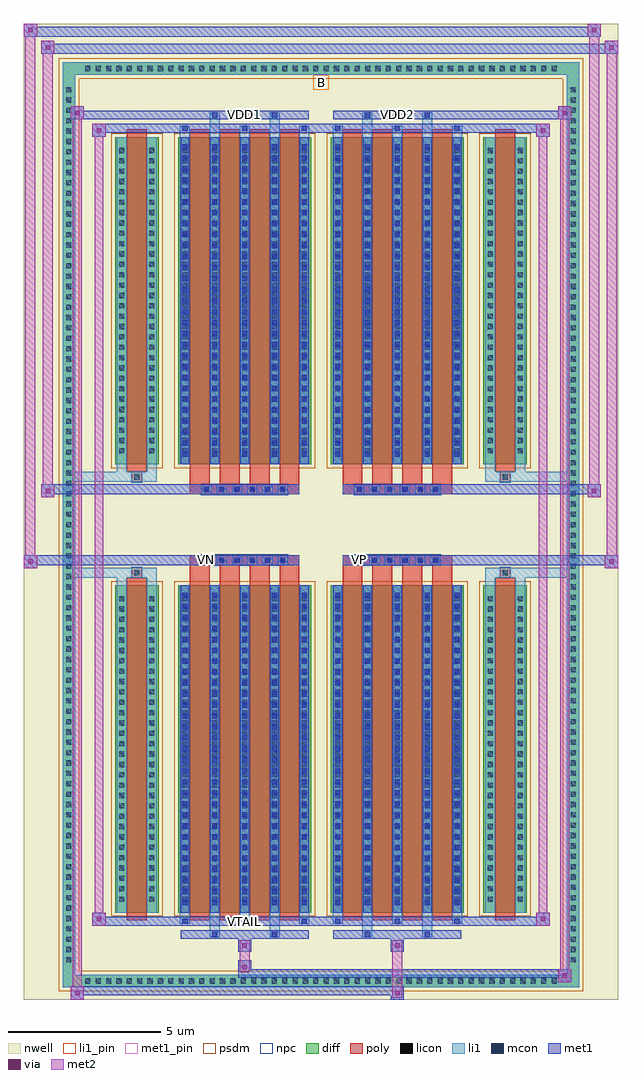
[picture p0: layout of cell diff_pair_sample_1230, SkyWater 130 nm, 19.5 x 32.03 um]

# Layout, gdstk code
import gdstk
lib = gdstk.Library(unit=1e-6, precision=5e-09)
def R(c, l, rs):  # rectangles x0, y0, x1, y1
    for r in rs: c.add(gdstk.rectangle(r[:2], r[2:], *l))
def A(c, l, x, y, w, h, nx, ny, dx, dy):  # array of equal rectangles
    R(c, l, [(x+i*dx, y+j*dy, x+i*dx+w, y+j*dy+h) for i in range(nx) for j in range(ny)])
def P(c, l, *ps):  # polygons
    for p in ps: c.add(gdstk.Polygon(p, *l))
nwell = (64, 20)
diff = (65, 20)
poly = (66, 20)
licon = (66, 44)
li1_pin = (67, 16)
li1 = (67, 20)
mcon = (67, 44)
met1_pin = (68, 16)
met1 = (68, 20)
via = (68, 44)
met2 = (69, 20)
psdm = (94, 20)
npc = (95, 20)

diff_pair_sample_1230 = lib.new_cell('diff_pair_sample_1230')
R(diff_pair_sample_1230, nwell, [(-9.75,-15.58,9.75,16.45), (-7.07,-13.77,-0.01,-0.795), (0.01,-13.77,7.07,-0.795), (-7.07,0.795,-0.01,13.77), (0.01,0.795,7.07,13.77)])
A(diff_pair_sample_1230, diff, -7.855, -15.18, 0.41, 0.41, 46, 2, 0.34, 29.95)
A(diff_pair_sample_1230, diff, -8.48, -14.485, 0.41, 0.41, 1, 85, 0, 0.34)
A(diff_pair_sample_1230, diff, 8.07, -14.485, 0.41, 0.41, 1, 85, 0, 0.34)
R(diff_pair_sample_1230, diff, [(-7.855,-15.18,7.855,-14.77), (-8.48,-14.485,-8.07,14.485), (8.07,-14.485,8.48,14.485), (-6.76,-12.725,-5.33,-1.985), (-4.69,-12.725,-0.32,-1.985), (0.32,-12.725,4.69,-1.985), (5.33,-12.725,6.76,-1.985), (-6.76,1.985,-5.33,12.725), (-4.69,1.985,-0.32,12.725), (0.32,1.985,4.69,12.725), (5.33,1.985,6.76,12.725), (-7.855,14.77,7.855,15.18)])
P(diff_pair_sample_1230, diff, [(8.48,15.18),(-8.48,15.18),(-8.48,-14.77),(-8.07,-14.77),(-8.07,14.77),(8.07,14.77),(8.07,-14.77),(-8.07,-14.77),(-8.48,-14.77),(-8.48,-15.18),(8.48,-15.18)])
A(diff_pair_sample_1230, poly, -4.3, -12.975, 0.65, 11.24, 4, 2, 0.98, 14.71)
A(diff_pair_sample_1230, poly, 0.71, -12.975, 0.65, 11.24, 4, 2, 0.98, 14.71)
A(diff_pair_sample_1230, poly, -4.3, -1.735, 0.65, 0.41, 4, 2, 0.98, 3.06)
A(diff_pair_sample_1230, poly, 0.71, -1.735, 0.65, 0.41, 4, 2, 0.98, 3.06)
A(diff_pair_sample_1230, poly, -3.92, -1.325, 0.33, 0.33, 6, 2, 0.5, 2.32)
A(diff_pair_sample_1230, poly, 1.09, -1.325, 0.33, 0.33, 6, 2, 0.5, 2.32)
R(diff_pair_sample_1230, poly, [(-6.37,-12.975,-5.72,-1.735), (5.72,-12.975,6.37,-1.735), (-6.21,-1.735,-5.88,-1.405), (-6.21,-1.735,-5.88,-1.405), (5.88,-1.735,6.21,-1.405), (5.88,-1.735,6.21,-1.405), (-4.3,-1.325,-0.71,-0.995), (0.71,-1.325,4.3,-0.995), (-4.3,0.995,-0.71,1.325), (0.71,0.995,4.3,1.325), (-6.21,1.405,-5.88,1.735), (-6.21,1.405,-5.88,1.735), (5.88,1.405,6.21,1.735), (5.88,1.405,6.21,1.735), (-6.37,1.735,-5.72,12.975), (5.72,1.735,6.37,12.975)])
A(diff_pair_sample_1230, licon, -7.735, -15.06, 0.17, 0.17, 46, 2, 0.34, 29.95)
A(diff_pair_sample_1230, licon, -8.36, -14.365, 0.17, 0.17, 1, 85, 0, 0.34)
A(diff_pair_sample_1230, licon, 8.19, -14.365, 0.17, 0.17, 1, 85, 0, 0.34)
A(diff_pair_sample_1230, licon, -6.62, -12.37, 0.17, 0.17, 1, 30, 0, 0.34)
A(diff_pair_sample_1230, licon, -5.64, -12.37, 0.17, 0.17, 1, 30, 0, 0.34)
A(diff_pair_sample_1230, licon, -4.55, -12.37, 0.17, 0.17, 5, 30, 0.98, 0.34)
A(diff_pair_sample_1230, licon, 0.46, -12.37, 0.17, 0.17, 5, 30, 0.98, 0.34)
A(diff_pair_sample_1230, licon, 5.47, -12.37, 0.17, 0.17, 1, 30, 0, 0.34)
A(diff_pair_sample_1230, licon, 6.45, -12.37, 0.17, 0.17, 1, 30, 0, 0.34)
A(diff_pair_sample_1230, licon, -3.84, -1.245, 0.17, 0.17, 6, 2, 0.5, 2.32)
A(diff_pair_sample_1230, licon, 1.17, -1.245, 0.17, 0.17, 6, 2, 0.5, 2.32)
A(diff_pair_sample_1230, licon, -6.62, 2.34, 0.17, 0.17, 1, 30, 0, 0.34)
A(diff_pair_sample_1230, licon, -5.64, 2.34, 0.17, 0.17, 1, 30, 0, 0.34)
A(diff_pair_sample_1230, licon, -4.55, 2.34, 0.17, 0.17, 5, 30, 0.98, 0.34)
A(diff_pair_sample_1230, licon, 0.46, 2.34, 0.17, 0.17, 5, 30, 0.98, 0.34)
A(diff_pair_sample_1230, licon, 5.47, 2.34, 0.17, 0.17, 1, 30, 0, 0.34)
A(diff_pair_sample_1230, licon, 6.45, 2.34, 0.17, 0.17, 1, 30, 0, 0.34)
R(diff_pair_sample_1230, licon, [(-6.13,-1.655,-5.96,-1.485), (5.96,-1.655,6.13,-1.485), (-6.13,1.485,-5.96,1.655), (5.96,1.485,6.13,1.655)])
R(diff_pair_sample_1230, li1_pin, [(-0.25,14.27,0.25,14.77)])
A(diff_pair_sample_1230, li1, -7.815, -15.14, 0.33, 0.33, 46, 2, 0.34, 29.95)
A(diff_pair_sample_1230, li1, -8.44, -14.445, 0.33, 0.33, 1, 85, 0, 0.34)
A(diff_pair_sample_1230, li1, 8.11, -14.445, 0.33, 0.33, 1, 85, 0, 0.34)
A(diff_pair_sample_1230, li1, -4.63, -13.1, 0.33, 0.375, 3, 2, 1.96, 25.825)
A(diff_pair_sample_1230, li1, -4.55, -13.1, 0.17, 0.17, 3, 2, 1.96, 26.03)
A(diff_pair_sample_1230, li1, 0.38, -13.1, 0.33, 0.375, 3, 2, 1.96, 25.825)
A(diff_pair_sample_1230, li1, 0.46, -13.1, 0.17, 0.17, 3, 2, 1.96, 26.03)
A(diff_pair_sample_1230, li1, -4.63, -12.725, 0.33, 10.74, 5, 2, 0.98, 14.71)
A(diff_pair_sample_1230, li1, 0.38, -12.725, 0.33, 10.74, 5, 2, 0.98, 14.71)
A(diff_pair_sample_1230, li1, -4.55, -12.48, 0.17, 0.17, 5, 29, 0.98, 0.36)
A(diff_pair_sample_1230, li1, -4.55, -12.48, 0.17, 10.25, 5, 2, 0.98, 14.71)
A(diff_pair_sample_1230, li1, 0.46, -12.48, 0.17, 0.17, 5, 29, 0.98, 0.36)
A(diff_pair_sample_1230, li1, 0.46, -12.48, 0.17, 10.25, 5, 2, 0.98, 14.71)
A(diff_pair_sample_1230, li1, -6.7, -12.45, 0.33, 0.33, 1, 30, 0, 0.34)
A(diff_pair_sample_1230, li1, -5.72, -12.45, 0.33, 0.33, 1, 30, 0, 0.34)
A(diff_pair_sample_1230, li1, -4.63, -12.45, 0.33, 0.33, 5, 30, 0.98, 0.34)
A(diff_pair_sample_1230, li1, 0.38, -12.45, 0.33, 0.33, 5, 30, 0.98, 0.34)
A(diff_pair_sample_1230, li1, 5.39, -12.45, 0.33, 0.33, 1, 30, 0, 0.34)
A(diff_pair_sample_1230, li1, 6.37, -12.45, 0.33, 0.33, 1, 30, 0, 0.34)
A(diff_pair_sample_1230, li1, -3.92, -1.325, 0.33, 0.33, 6, 2, 0.5, 2.32)
A(diff_pair_sample_1230, li1, 1.09, -1.325, 0.33, 0.33, 6, 2, 0.5, 2.32)
A(diff_pair_sample_1230, li1, -4.55, 2.23, 0.17, 0.17, 5, 29, 0.98, 0.36)
A(diff_pair_sample_1230, li1, 0.46, 2.23, 0.17, 0.17, 5, 29, 0.98, 0.36)
A(diff_pair_sample_1230, li1, -6.7, 2.26, 0.33, 0.33, 1, 30, 0, 0.34)
A(diff_pair_sample_1230, li1, -5.72, 2.26, 0.33, 0.33, 1, 30, 0, 0.34)
A(diff_pair_sample_1230, li1, -4.63, 2.26, 0.33, 0.33, 5, 30, 0.98, 0.34)
A(diff_pair_sample_1230, li1, 0.38, 2.26, 0.33, 0.33, 5, 30, 0.98, 0.34)
A(diff_pair_sample_1230, li1, 5.39, 2.26, 0.33, 0.33, 1, 30, 0, 0.34)
A(diff_pair_sample_1230, li1, 6.37, 2.26, 0.33, 0.33, 1, 30, 0, 0.34)
R(diff_pair_sample_1230, li1, [(-8.48,-15.18,-8.07,-14.77), (-8.48,-15.18,-8.07,-14.77), (-8.07,-15.18,8.07,-14.77), (8.07,-15.18,8.48,-14.77), (8.07,-15.18,8.48,-14.77), (-8.48,-14.77,-8.07,14.77), (8.07,-14.77,8.48,14.77), (-3.65,-13.53,-3.32,-12.725), (-3.57,-13.53,-3.4,-13.36), (-1.69,-13.53,-1.36,-12.725), (-1.61,-13.53,-1.44,-13.36), (1.36,-13.53,1.69,-12.725), (1.44,-13.53,1.61,-13.36), (3.32,-13.53,3.65,-12.725), (3.4,-13.53,3.57,-13.36), (-6.7,-12.725,-6.37,-1.985), (-5.72,-12.725,-5.39,-1.985), (5.39,-12.725,5.72,-1.985), (6.37,-12.725,6.7,-1.985), (-6.7,-1.985,-6.37,-1.405), (-5.72,-1.985,-5.39,-1.405), (5.39,-1.985,5.72,-1.405), (6.37,-1.985,6.7,-1.405), (-8.48,-1.735,-6.21,-1.405), (-6.7,-1.735,-6.21,-1.405), (-6.21,-1.735,-5.88,-1.405), (-5.88,-1.735,-5.39,-1.405), (5.39,-1.735,5.88,-1.405), (5.88,-1.735,6.21,-1.405), (5.88,-1.735,8.48,-1.405), (6.21,-1.735,6.7,-1.405), (-8.48,1.405,-6.21,1.735), (-6.7,1.405,-6.21,1.735), (-6.7,1.405,-6.37,1.985), (-6.21,1.405,-5.88,1.735), (-5.88,1.405,-5.39,1.735), (-5.72,1.405,-5.39,1.985), (5.39,1.405,5.88,1.735), (5.39,1.405,5.72,1.985), (5.88,1.405,6.21,1.735), (5.88,1.405,8.48,1.735), (6.21,1.405,6.7,1.735), (6.37,1.405,6.7,1.985), (-6.7,1.985,-6.37,12.725), (-5.72,1.985,-5.39,12.725), (5.39,1.985,5.72,12.725), (6.37,1.985,6.7,12.725), (-3.65,12.725,-3.32,13.53), (-1.69,12.725,-1.36,13.53), (1.36,12.725,1.69,13.53), (3.32,12.725,3.65,13.53), (-3.57,13.36,-3.4,13.53), (-1.61,13.36,-1.44,13.53), (1.44,13.36,1.61,13.53), (3.4,13.36,3.57,13.53), (-8.48,14.77,-8.07,15.18), (-8.48,14.77,-8.07,15.18), (-8.07,14.77,8.07,15.18), (8.07,14.77,8.48,15.18), (8.07,14.77,8.48,15.18)])
A(diff_pair_sample_1230, mcon, -4.55, -13.1, 0.17, 0.17, 3, 2, 1.96, 26.03)
A(diff_pair_sample_1230, mcon, 0.46, -13.1, 0.17, 0.17, 3, 2, 1.96, 26.03)
A(diff_pair_sample_1230, mcon, -4.55, -12.48, 0.17, 0.17, 5, 29, 0.98, 0.36)
A(diff_pair_sample_1230, mcon, 0.46, -12.48, 0.17, 0.17, 5, 29, 0.98, 0.36)
A(diff_pair_sample_1230, mcon, -3.84, -1.245, 0.17, 0.17, 6, 2, 0.5, 2.32)
A(diff_pair_sample_1230, mcon, 1.17, -1.245, 0.17, 0.17, 6, 2, 0.5, 2.32)
A(diff_pair_sample_1230, mcon, -4.55, 2.23, 0.17, 0.17, 5, 29, 0.98, 0.36)
A(diff_pair_sample_1230, mcon, 0.46, 2.23, 0.17, 0.17, 5, 29, 0.98, 0.36)
R(diff_pair_sample_1230, mcon, [(-3.57,-13.53,-3.4,-13.36), (-1.61,-13.53,-1.44,-13.36), (1.44,-13.53,1.61,-13.36), (3.4,-13.53,3.57,-13.36), (-3.57,13.36,-3.4,13.53), (-1.61,13.36,-1.44,13.53), (1.44,13.36,1.61,13.53), (3.4,13.36,3.57,13.53)])
R(diff_pair_sample_1230, met1_pin, [(-2.64,-13.14,-2.37,-12.87), (-3.89,-1.285,-3.62,-1.015), (1.12,-1.285,1.39,-1.015), (-2.64,13.32,-2.37,13.59), (2.37,13.32,2.64,13.59)])
A(diff_pair_sample_1230, met1, -4.61, -13.16, 0.29, 0.29, 3, 2, 1.96, 26.03)
A(diff_pair_sample_1230, met1, 0.4, -13.16, 0.29, 0.29, 3, 2, 1.96, 26.03)
A(diff_pair_sample_1230, met1, -4.61, -12.725, 0.29, 10.74, 5, 2, 0.98, 14.71)
A(diff_pair_sample_1230, met1, 0.4, -12.725, 0.29, 10.74, 5, 2, 0.98, 14.71)
A(diff_pair_sample_1230, met1, -4.61, -12.54, 0.29, 0.29, 5, 29, 0.98, 0.36)
A(diff_pair_sample_1230, met1, 0.4, -12.54, 0.29, 0.29, 5, 29, 0.98, 0.36)
A(diff_pair_sample_1230, met1, -3.9, -1.305, 0.29, 0.29, 6, 2, 0.5, 2.32)
A(diff_pair_sample_1230, met1, 1.11, -1.305, 0.29, 0.29, 6, 2, 0.5, 2.32)
A(diff_pair_sample_1230, met1, -4.61, 2.17, 0.29, 0.29, 5, 29, 0.98, 0.36)
A(diff_pair_sample_1230, met1, 0.4, 2.17, 0.29, 0.29, 5, 29, 0.98, 0.36)
R(diff_pair_sample_1230, met1, [(-8.21,-15.58,-7.78,-15.15), (2.29,-15.58,2.72,-15.15), (-8.21,-15.44,2.72,-15.15), (7.78,-15.01,8.21,-14.58), (-2.72,-14.87,8.21,-14.58), (-2.72,-14.73,-2.29,-14.3), (-2.72,-14.02,-2.29,-13.59), (2.29,-14.02,2.72,-13.59), (-4.61,-13.59,-0.4,-13.3), (-3.63,-13.59,-3.34,-13.3), (-1.67,-13.59,-1.38,-13.3), (0.4,-13.59,4.61,-13.3), (1.38,-13.59,1.67,-13.3), (3.34,-13.59,3.63,-13.3), (-7.5,-13.16,-7.07,-12.73), (-7.5,-13.16,-4.61,-12.87), (-4.61,-13.16,-0.4,-12.87), (-0.4,-13.16,0.4,-12.87), (0.4,-13.16,4.61,-12.87), (4.61,-13.16,7.5,-12.87), (7.07,-13.16,7.5,-12.73), (-9.75,-1.425,-9.32,-0.995), (9.32,-1.425,9.75,-0.995), (-9.75,-1.325,-0.71,-0.995), (-4.3,-1.325,-0.71,-0.995), (0.71,-1.325,4.3,-0.995), (0.71,-1.325,9.75,-0.995), (-9.18,0.895,-8.75,1.325), (8.75,0.895,9.18,1.325), (-9.18,0.995,-4.3,1.325), (-4.3,0.995,-0.71,1.325), (0.71,0.995,4.3,1.325), (4.3,0.995,9.18,1.325), (-7.5,12.73,-7.07,13.16), (7.07,12.73,7.5,13.16), (-7.5,12.87,-4.61,13.16), (-4.61,12.87,-0.4,13.16), (-0.4,12.87,0.4,13.16), (0.4,12.87,4.61,13.16), (4.61,12.87,7.5,13.16), (-8.21,13.3,-7.78,13.73), (-8.21,13.3,-4.61,13.59), (-4.61,13.3,-0.4,13.59), (-3.63,13.3,-3.34,13.59), (-1.67,13.3,-1.38,13.59), (0.4,13.3,4.61,13.59), (1.38,13.3,1.67,13.59), (3.34,13.3,3.63,13.59), (4.61,13.3,8.21,13.59), (7.78,13.3,8.21,13.73), (-9.18,15.45,-8.75,15.88), (-9.18,15.45,-7.07,15.78), (-7.07,15.45,7.07,15.78), (7.07,15.45,9.75,15.78), (9.32,15.45,9.75,15.88), (-9.75,16.02,-9.32,16.45), (-9.75,16.02,-7.07,16.35), (-7.07,16.02,7.07,16.35), (7.07,16.02,9.18,16.35), (8.75,16.02,9.18,16.45)])
R(diff_pair_sample_1230, via, [(-8.07,-15.44,-7.92,-15.29), (2.43,-15.44,2.58,-15.29), (7.92,-14.87,8.07,-14.72), (-2.58,-14.59,-2.43,-14.44), (-2.58,-13.88,-2.43,-13.73), (2.43,-13.88,2.58,-13.73), (-7.36,-13.02,-7.21,-12.87), (7.21,-13.02,7.36,-12.87), (-9.61,-1.285,-9.46,-1.135), (9.46,-1.285,9.61,-1.135), (-9.04,1.035,-8.89,1.185), (8.89,1.035,9.04,1.185), (-7.36,12.87,-7.21,13.02), (7.21,12.87,7.36,13.02), (-8.07,13.44,-7.92,13.59), (7.92,13.44,8.07,13.59), (-9.04,15.59,-8.89,15.74), (9.46,15.59,9.61,15.74), (-9.61,16.16,-9.46,16.31), (8.89,16.16,9.04,16.31)])
R(diff_pair_sample_1230, met2, [(-8.21,-15.58,-7.78,-15.15), (-8.14,-15.58,-7.85,13.73), (-7.85,-15.58,-7.78,-15.15), (-8.16,-15.53,-7.83,-15.2), (2.34,-15.53,2.67,-15.2), (2.34,-15.2,2.67,-13.97), (7.78,-15.01,8.21,-14.58), (7.85,-15.01,8.14,13.73), (8.14,-15.01,8.21,-14.58), (7.83,-14.96,8.16,-14.63), (-2.67,-14.68,-2.34,-14.35), (-2.67,-14.35,-2.34,-13.97), (-2.67,-13.97,-2.34,-13.64), (2.34,-13.97,2.67,-13.64), (-7.5,-13.16,-7.07,-12.73), (-7.43,-13.16,-7.14,13.16), (-7.14,-13.16,-7.07,-12.73), (7.07,-13.16,7.5,-12.73), (7.14,-13.16,7.43,13.16), (7.43,-13.16,7.5,-12.73), (-7.45,-13.11,-7.12,-12.78), (7.12,-13.11,7.45,-12.78), (-9.75,-1.425,-9.32,-0.995), (-9.7,-1.425,-9.37,16.45), (-9.37,-1.425,-9.32,-0.995), (9.32,-1.425,9.75,-0.995), (9.37,-1.425,9.7,15.88), (9.7,-1.425,9.75,-0.995), (-9.7,-1.375,-9.37,-1.045), (9.37,-1.375,9.7,-1.045), (-9.18,0.895,-8.75,1.325), (-9.13,0.895,-8.8,15.88), (-8.8,0.895,-8.75,1.325), (8.75,0.895,9.18,1.325), (8.8,0.895,9.13,16.45), (9.13,0.895,9.18,1.325), (-9.13,0.945,-8.8,1.275), (8.8,0.945,9.13,1.275), (-7.5,12.73,-7.07,13.16), (-7.14,12.73,-7.07,13.16), (7.07,12.73,7.5,13.16), (7.43,12.73,7.5,13.16), (-7.45,12.78,-7.12,13.11), (7.12,12.78,7.45,13.11), (-8.21,13.3,-7.78,13.73), (-7.85,13.3,-7.78,13.73), (7.78,13.3,8.21,13.73), (8.14,13.3,8.21,13.73), (-8.16,13.35,-7.83,13.68), (7.83,13.35,8.16,13.68), (-9.18,15.45,-8.75,15.88), (-8.8,15.45,-8.75,15.88), (9.32,15.45,9.75,15.88), (9.7,15.45,9.75,15.88), (-9.13,15.5,-8.8,15.83), (9.37,15.5,9.7,15.83), (-9.75,16.02,-9.32,16.45), (-9.37,16.02,-9.32,16.45), (8.75,16.02,9.18,16.45), (9.13,16.02,9.18,16.45), (-9.7,16.07,-9.37,16.4), (8.8,16.07,9.13,16.4)])
R(diff_pair_sample_1230, psdm, [(-6.89,-12.855,-5.2,-1.855), (-4.82,-12.855,-0.19,-1.855), (0.19,-12.855,4.82,-1.855), (5.2,-12.855,6.89,-1.855), (-6.89,1.855,-5.2,12.855), (-4.82,1.855,-0.19,12.855), (0.19,1.855,4.82,12.855), (5.2,1.855,6.89,12.855)])
P(diff_pair_sample_1230, psdm, [(8.61,15.31),(-8.61,15.31),(-8.61,-14.64),(-7.94,-14.64),(-7.94,14.64),(7.94,14.64),(7.94,-14.64),(-7.94,-14.64),(-8.61,-14.64),(-8.61,-15.31),(8.61,-15.31)])
A(diff_pair_sample_1230, npc, -3.94, -1.345, 0.37, 0.37, 6, 2, 0.5, 2.32)
A(diff_pair_sample_1230, npc, 1.07, -1.345, 0.37, 0.37, 6, 2, 0.5, 2.32)
R(diff_pair_sample_1230, npc, [(-6.23,-1.755,-5.86,-1.385), (5.86,-1.755,6.23,-1.385), (-3.94,-1.345,-3.07,-0.975), (-3.94,-1.345,-3.07,-0.975), (-3.44,-1.345,-2.57,-0.975), (-3.44,-1.345,-2.57,-0.975), (-2.94,-1.345,-2.07,-0.975), (-2.94,-1.345,-2.07,-0.975), (-2.44,-1.345,-1.57,-0.975), (-2.44,-1.345,-1.57,-0.975), (-1.94,-1.345,-1.07,-0.975), (-1.94,-1.345,-1.07,-0.975), (1.07,-1.345,1.94,-0.975), (1.07,-1.345,1.94,-0.975), (1.57,-1.345,2.44,-0.975), (1.57,-1.345,2.44,-0.975), (2.07,-1.345,2.94,-0.975), (2.07,-1.345,2.94,-0.975), (2.57,-1.345,3.44,-0.975), (2.57,-1.345,3.44,-0.975), (3.07,-1.345,3.94,-0.975), (3.07,-1.345,3.94,-0.975), (-3.94,0.975,-3.07,1.345), (-3.94,0.975,-3.07,1.345), (-3.44,0.975,-2.57,1.345), (-3.44,0.975,-2.57,1.345), (-2.94,0.975,-2.07,1.345), (-2.94,0.975,-2.07,1.345), (-2.44,0.975,-1.57,1.345), (-2.44,0.975,-1.57,1.345), (-1.94,0.975,-1.07,1.345), (-1.94,0.975,-1.07,1.345), (1.07,0.975,1.94,1.345), (1.07,0.975,1.94,1.345), (1.57,0.975,2.44,1.345), (1.57,0.975,2.44,1.345), (2.07,0.975,2.94,1.345), (2.07,0.975,2.94,1.345), (2.57,0.975,3.44,1.345), (2.57,0.975,3.44,1.345), (3.07,0.975,3.94,1.345), (3.07,0.975,3.94,1.345), (-6.23,1.385,-5.86,1.755), (5.86,1.385,6.23,1.755)])
diff_pair_sample_1230.add(gdstk.Label('VTAIL', (-2.505,-13.005), layer=68, texttype=5))
diff_pair_sample_1230.add(gdstk.Label('VN', (-3.755,-1.15), layer=68, texttype=5))
diff_pair_sample_1230.add(gdstk.Label('VP', (1.255,-1.15), layer=68, texttype=5))
diff_pair_sample_1230.add(gdstk.Label('B', (0,14.52), layer=67, texttype=5))
diff_pair_sample_1230.add(gdstk.Label('VDD2', (2.505,13.455), layer=68, texttype=5))
diff_pair_sample_1230.add(gdstk.Label('VDD1', (-2.505,13.455), layer=68, texttype=5))

lib.write_gds('diff_pair_sample_1230.gds')
